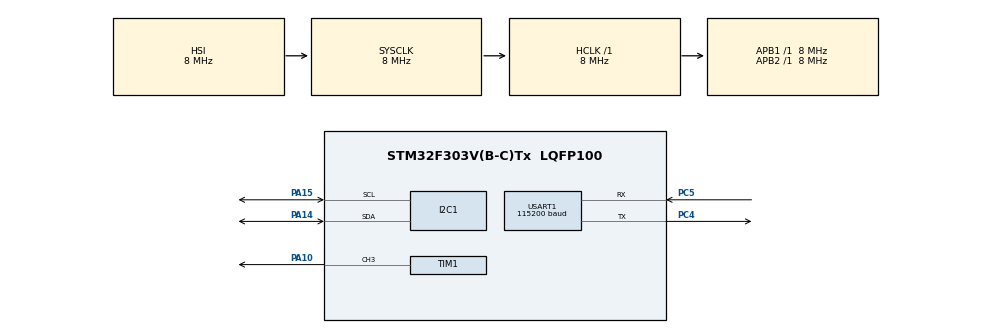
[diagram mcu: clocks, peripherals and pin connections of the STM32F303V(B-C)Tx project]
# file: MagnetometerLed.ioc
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I2C1.Timing=0x00201D2B
Mcu.Family=STM32F3
Mcu.Name=STM32F303V(B-C)Tx
Mcu.Package=LQFP100
NVIC.PriorityGroup=NVIC_PRIORITYGROUP_4
PA10.Signal=S_TIM1_CH3
PA14.GPIO_Pu=GPIO_NOPULL
PA14.Mode=I2C
PA14.Signal=I2C1_SDA
PA15.Mode=I2C
PA15.Signal=I2C1_SCL
PC4.Mode=Asynchronous
PC4.Signal=USART1_TX
PC5.Mode=Asynchronous
PC5.Signal=USART1_RX
ProjectManager.HeapSize=0x200
ProjectManager.StackSize=0x400
ProjectManager.TargetToolchain=STM32CubeIDE
RCC.AHBFreq_Value=8000000
RCC.APB1Freq_Value=8000000
RCC.APB1TimCLKDivider=1
RCC.APB1TimFreq_Value=8000000
RCC.APB2Freq_Value=8000000
RCC.APB2TimFreq_Value=8000000
RCC.CortexFreq_Value=8000000
RCC.HCLKFreq_Value=8000000
RCC.HSE_VALUE=8000000
RCC.HSI_VALUE=8000000
RCC.LSE_VALUE=32768
RCC.SYSCLKFreq_VALUE=8000000
RCC.USBFreq_Value=8000000
SH.S_TIM1_CH3.0=TIM1_CH3,PWM Generation3 CH3
TIM1.Channel-PWM\ Generation3\ CH3=TIM_CHANNEL_3
USART1.BaudRate=115200
USART1.VirtualMode-Asynchronous=VM_ASYNC
board=custom

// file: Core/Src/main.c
/* USER CODE BEGIN Header */
/**
  ******************************************************************************
  * @file           : main.c
  * @brief          : Main program body
  ******************************************************************************
  * @attention
  *
  * Copyright (c) 2025 STMicroelectronics.
  * All rights reserved.
  *
  * This software is licensed under terms that can be found in the LICENSE file
  * in the root directory of this software component.
  * If no LICENSE file comes with this software, it is provided AS-IS.
  *
  ******************************************************************************
  */
/* USER CODE END Header */
#include "main.h"
#include <stdio.h>
#include <string.h>
#include <math.h>

/* USER CODE BEGIN PD */
#define QMC5883L_ADDR       0x0D << 1  // 7-bit address 0x0D, shifted for HAL
#define QMC5883L_REG_X_LSB  0x00       // Data output X LSB
#define QMC5883L_REG_STATUS 0x06       // Status register
#define QMC5883L_REG_CTRL1  0x09       // Control register 1
#define UART_TX_PERIOD_MS   1000       // Print every 1 second
#define MAG_MIN_THRESHOLD   3000       // Minimum magnetic field magnitude
#define MAG_MAX_THRESHOLD   10000      // Maximum magnetic field magnitude
/* USER CODE END PD */

I2C_HandleTypeDef hi2c1;
TIM_HandleTypeDef htim1;
UART_HandleTypeDef huart1;

/* USER CODE BEGIN PV */
uint32_t uartTimer = 0; // Timer for periodic UART transmission
uint32_t magTimer = 0;  // Timer for magnetometer reading
/* USER CODE END PV */

void SystemClock_Config(void);
static void MX_GPIO_Init(void);
static void MX_I2C1_Init(void);
static void MX_USART1_UART_Init(void);
static void MX_TIM1_Init(void);
/* USER CODE BEGIN PFP */
HAL_StatusTypeDef QMC5883L_Init(void);
HAL_StatusTypeDef QMC5883L_ReadXYZ(int16_t *x, int16_t *y, int16_t *z);
/* USER CODE END PFP */

/* USER CODE BEGIN 0 */

/**
  * @brief Initialize QMC5883L magnetometer
  * @retval HAL status
  */
HAL_StatusTypeDef QMC5883L_Init(void) {
    uint8_t data;
    HAL_StatusTypeDef ret;

    // Reset the device
    data = 0x80; // Soft reset
    ret = HAL_I2C_Mem_Write(&hi2c1, QMC5883L_ADDR, 0x0A, 1, &data, 1, HAL_MAX_DELAY);
    if (ret != HAL_OK) return ret;
    HAL_Delay(10);

    // Configure: Continuous mode, 200 Hz, 8G range, 512 oversampling
    data = 0x1D; // 0b00011101: MODE=01 (continuous), ODR=11 (200 Hz), RNG=10 (8G), OSR=11 (512)
    ret = HAL_I2C_Mem_Write(&hi2c1, QMC5883L_ADDR, QMC5883L_REG_CTRL1, 1, &data, 1, HAL_MAX_DELAY);
    if (ret != HAL_OK) return ret;

    return HAL_OK;
}

/**
  * @brief Read X, Y, Z values from QMC5883L
  * @param x, y, z: Pointers to store magnetometer data
  * @retval HAL status
  */
HAL_StatusTypeDef QMC5883L_ReadXYZ(int16_t *x, int16_t *y, int16_t *z) {
    uint8_t data[6];
    uint8_t status;
    HAL_StatusTypeDef ret;

    // Check if data is ready (DRDY bit)
    do {
        ret = HAL_I2C_Mem_Read(&hi2c1, QMC5883L_ADDR, QMC5883L_REG_STATUS, 1, &status, 1, HAL_MAX_DELAY);
        if (ret != HAL_OK) return ret;
    } while (!(status & 0x01)); // Wait for DRDY = 1

    // Read 6 bytes (X_LSB, X_MSB, Y_LSB, Y_MSB, Z_LSB, Z_MSB)
    ret = HAL_I2C_Mem_Read(&hi2c1, QMC5883L_ADDR, QMC5883L_REG_X_LSB, 1, data, 6, HAL_MAX_DELAY);
    if (ret != HAL_OK) return ret;

    // Combine bytes (2’s complement)
    *x = (int16_t)(data[1] << 8 | data[0]);
    *y = (int16_t)(data[3] << 8 | data[2]);
    *z = (int16_t)(data[5] << 8 | data[4]);

    return HAL_OK;
}

/* USER CODE END 0 */

int main(void)
{
  /* USER CODE BEGIN 1 */
  int16_t x, y, z;
  float magnitude;
  uint32_t dutyCycle = 0;
  const uint32_t maxDuty = 7999; // Matches TIM1 Period
  char buffer[100];
  HAL_StatusTypeDef ret;
  /* USER CODE END 1 */

  /* MCU Configuration--------------------------------------------------------*/

  /* Reset of all peripherals, Initializes the Flash interface and the Systick. */
  HAL_Init();

  /* Configure the system clock */
  SystemClock_Config();

  /* Initialize all configured peripherals */
  MX_GPIO_Init();
  MX_I2C1_Init();
  MX_USART1_UART_Init();
  MX_TIM1_Init();
  /* USER CODE BEGIN 2 */

  // Initialize QMC5883L
  ret = QMC5883L_Init();
  if (ret != HAL_OK) {
      sprintf(buffer, "QMC5883L Init Failed: %d\r\n", ret);
      HAL_UART_Transmit(&huart1, (uint8_t*)buffer, strlen(buffer), HAL_MAX_DELAY);
      while (1);
  }

  // Start PWM on TIM1 Channel 3
  HAL_TIM_PWM_Start(&htim1, TIM_CHANNEL_3);

  // Send startup message
  sprintf(buffer, "QMC5883L Initialized, PWM Started\r\n");
  HAL_UART_Transmit(&huart1, (uint8_t*)buffer, strlen(buffer), HAL_MAX_DELAY);

  /* USER CODE END 2 */

  /* Infinite loop */
  while (1)
  {

    /* USER CODE BEGIN 3 */
    // Increment timers
    uartTimer += 10;
    magTimer += 10;

    // Read magnetometer every 200 ms
    if (magTimer >= 200) {
        ret = QMC5883L_ReadXYZ(&x, &y, &z);
        if (ret == HAL_OK) {
            // Calculate magnetic field magnitude
            magnitude = sqrt((float)(x * x + y * y + z * z));

            // Map magnitude to duty cycle (inverse relationship)
            if (magnitude <= MAG_MIN_THRESHOLD) {
                dutyCycle = maxDuty; // Max brightness
            } else if (magnitude >= MAG_MAX_THRESHOLD) {
                dutyCycle = 0; // Min brightness
            } else {
                // Linear interpolation: dutyCycle = maxDuty * (10000 - mag) / (10000 - 3000)
                dutyCycle = maxDuty * (MAG_MAX_THRESHOLD - magnitude) / (MAG_MAX_THRESHOLD - MAG_MIN_THRESHOLD);
            }

            // Set PWM duty cycle
            __HAL_TIM_SET_COMPARE(&htim1, TIM_CHANNEL_3, dutyCycle);
        } else {
            // Report error but continue
            sprintf(buffer, "Magnetometer Read Error: %d\r\n", ret);
            HAL_UART_Transmit(&huart1, (uint8_t*)buffer, strlen(buffer), HAL_MAX_DELAY);
        }
        magTimer = 0; // Reset timer
    }

    // Send UART message every 1 second
    if (uartTimer >= UART_TX_PERIOD_MS) {
        sprintf(buffer, "DEBUG: Mag: %.2f, Duty: %lu%%\r\n", magnitude, (dutyCycle * 100) / maxDuty);
        HAL_UART_Transmit(&huart1, (uint8_t*)buffer, strlen(buffer), HAL_MAX_DELAY);
        uartTimer = 0; // Reset timer
    }

    // Small delay for loop stability
    HAL_Delay(10);
  }
  /* USER CODE END 3 */
}

void SystemClock_Config(void)
{
  RCC_OscInitTypeDef RCC_OscInitStruct = {0};
  RCC_ClkInitTypeDef RCC_ClkInitStruct = {0};
  RCC_PeriphCLKInitTypeDef PeriphClkInit = {0};

  /** Initializes the RCC Oscillators according to the specified parameters
  * in the RCC_OscInitTypeDef structure.
  */
  RCC_OscInitStruct.OscillatorType = RCC_OSCILLATORTYPE_HSI;
  RCC_OscInitStruct.HSIState = RCC_HSI_ON;
  RCC_OscInitStruct.HSICalibrationValue = RCC_HSICALIBRATION_DEFAULT;
  RCC_OscInitStruct.PLL.PLLState = RCC_PLL_NONE;
  if (HAL_RCC_OscConfig(&RCC_OscInitStruct) != HAL_OK)
  {
    Error_Handler();
  }

  /** Initializes the CPU, AHB and APB buses clocks
  */
  RCC_ClkInitStruct.ClockType = RCC_CLOCKTYPE_HCLK|RCC_CLOCKTYPE_SYSCLK
                              |RCC_CLOCKTYPE_PCLK1|RCC_CLOCKTYPE_PCLK2;
  RCC_ClkInitStruct.SYSCLKSource = RCC_SYSCLKSOURCE_HSI;
  RCC_ClkInitStruct.AHBCLKDivider = RCC_SYSCLK_DIV1;
  RCC_ClkInitStruct.APB1CLKDivider = RCC_HCLK_DIV1;
  RCC_ClkInitStruct.APB2CLKDivider = RCC_HCLK_DIV1;

  if (HAL_RCC_ClockConfig(&RCC_ClkInitStruct, FLASH_LATENCY_0) != HAL_OK)
  {
    Error_Handler();
  }
  PeriphClkInit.PeriphClockSelection = RCC_PERIPHCLK_USART1|RCC_PERIPHCLK_I2C1
                              |RCC_PERIPHCLK_TIM1;
  PeriphClkInit.Usart1ClockSelection = RCC_USART1CLKSOURCE_PCLK2;
  PeriphClkInit.I2c1ClockSelection = RCC_I2C1CLKSOURCE_HSI;
  PeriphClkInit.Tim1ClockSelection = RCC_TIM1CLK_HCLK;
  if (HAL_RCCEx_PeriphCLKConfig(&PeriphClkInit) != HAL_OK)
  {
    Error_Handler();
  }
}

static void MX_I2C1_Init(void)
{

  hi2c1.Instance = I2C1;
  hi2c1.Init.Timing = 0x00201D2B; // 100 kHz for 8 MHz HSI
  hi2c1.Init.OwnAddress1 = 0;
  hi2c1.Init.AddressingMode = I2C_ADDRESSINGMODE_7BIT;
  hi2c1.Init.DualAddressMode = I2C_DUALADDRESS_DISABLE;
  hi2c1.Init.OwnAddress2 = 0;
  hi2c1.Init.OwnAddress2Masks = I2C_OA2_NOMASK;
  hi2c1.Init.GeneralCallMode = I2C_GENERALCALL_DISABLE;
  hi2c1.Init.NoStretchMode = I2C_NOSTRETCH_DISABLE;
  if (HAL_I2C_Init(&hi2c1) != HAL_OK)
  {
    Error_Handler();
  }

  /** Configure Analogue filter
  */
  if (HAL_I2CEx_ConfigAnalogFilter(&hi2c1, I2C_ANALOGFILTER_ENABLE) != HAL_OK)
  {
    Error_Handler();
  }

  /** Configure Digital filter
  */
  if (HAL_I2CEx_ConfigDigitalFilter(&hi2c1, 0) != HAL_OK)
  {
    Error_Handler();
  }
}

static void MX_TIM1_Init(void)
{

  TIM_MasterConfigTypeDef sMasterConfig = {0};
  TIM_OC_InitTypeDef sConfigOC = {0};
  TIM_BreakDeadTimeConfigTypeDef sBreakDeadTimeConfig = {0};

  htim1.Instance = TIM1;
  htim1.Init.Prescaler = 0; // 8 MHz timer clock
  htim1.Init.CounterMode = TIM_COUNTERMODE_UP;
  htim1.Init.Period = 7999; // PWM frequency = 8 MHz / (7999 + 1) = 1 kHz
  htim1.Init.ClockDivision = TIM_CLOCKDIVISION_DIV1;
  htim1.Init.RepetitionCounter = 0;
  htim1.Init.AutoReloadPreload = TIM_AUTORELOAD_PRELOAD_ENABLE; // Enable preload
  if (HAL_TIM_PWM_Init(&htim1) != HAL_OK)
  {
    Error_Handler();
  }
  sMasterConfig.MasterOutputTrigger = TIM_TRGO_RESET;
  sMasterConfig.MasterOutputTrigger2 = TIM_TRGO2_RESET;
  sMasterConfig.MasterSlaveMode = TIM_MASTERSLAVEMODE_DISABLE;
  if (HAL_TIMEx_MasterConfigSynchronization(&htim1, &sMasterConfig) != HAL_OK)
  {
    Error_Handler();
  }
  sConfigOC.OCMode = TIM_OCMODE_PWM1;
  sConfigOC.Pulse = 0; // Initial duty cycle (0%)
  sConfigOC.OCPolarity = TIM_OCPOLARITY_HIGH;
  sConfigOC.OCNPolarity = TIM_OCNPOLARITY_HIGH;
  sConfigOC.OCFastMode = TIM_OCFAST_DISABLE;
  sConfigOC.OCIdleState = TIM_OCIDLESTATE_RESET;
  sConfigOC.OCNIdleState = TIM_OCNIDLESTATE_RESET;
  if (HAL_TIM_PWM_ConfigChannel(&htim1, &sConfigOC, TIM_CHANNEL_3) != HAL_OK)
  {
    Error_Handler();
  }
  sBreakDeadTimeConfig.OffStateRunMode = TIM_OSSR_DISABLE;
  sBreakDeadTimeConfig.OffStateIDLEMode = TIM_OSSI_DISABLE;
  sBreakDeadTimeConfig.LockLevel = TIM_LOCKLEVEL_OFF;
  sBreakDeadTimeConfig.DeadTime = 0;
  sBreakDeadTimeConfig.BreakState = TIM_BREAK_DISABLE;
  sBreakDeadTimeConfig.BreakPolarity = TIM_BREAKPOLARITY_HIGH;
  sBreakDeadTimeConfig.BreakFilter = 0;
  sBreakDeadTimeConfig.Break2State = TIM_BREAK2_DISABLE;
  sBreakDeadTimeConfig.Break2Polarity = TIM_BREAK2POLARITY_HIGH;
  sBreakDeadTimeConfig.Break2Filter = 0;
  sBreakDeadTimeConfig.AutomaticOutput = TIM_AUTOMATICOUTPUT_DISABLE;
  if (HAL_TIMEx_ConfigBreakDeadTime(&htim1, &sBreakDeadTimeConfig) != HAL_OK)
  {
    Error_Handler();
  }
  HAL_TIM_MspPostInit(&htim1);
}

static void MX_USART1_UART_Init(void)
{

  huart1.Instance = USART1;
  huart1.Init.BaudRate = 115200;
  huart1.Init.WordLength = UART_WORDLENGTH_8B;
  huart1.Init.StopBits = UART_STOPBITS_1;
  huart1.Init.Parity = UART_PARITY_NONE;
  huart1.Init.Mode = UART_MODE_TX_RX;
  huart1.Init.HwFlowCtl = UART_HWCONTROL_NONE;
  huart1.Init.OverSampling = UART_OVERSAMPLING_16;
  huart1.Init.OneBitSampling = UART_ONE_BIT_SAMPLE_DISABLE;
  huart1.AdvancedInit.AdvFeatureInit = UART_ADVFEATURE_NO_INIT;
  if (HAL_UART_Init(&huart1) != HAL_OK)
  {
    Error_Handler();
  }
}

static void MX_GPIO_Init(void)
{
  GPIO_InitTypeDef GPIO_InitStruct = {0};

  /* GPIO Ports Clock Enable */
  __HAL_RCC_GPIOC_CLK_ENABLE();
  __HAL_RCC_GPIOA_CLK_ENABLE();

  /* Configure PA10 for TIM1_CH3 (PWM) */
  GPIO_InitStruct.Pin = GPIO_PIN_10;
  GPIO_InitStruct.Mode = GPIO_MODE_AF_PP;
  GPIO_InitStruct.Pull = GPIO_NOPULL;
  GPIO_InitStruct.Speed = GPIO_SPEED_FREQ_LOW;
  GPIO_InitStruct.Alternate = GPIO_AF6_TIM1; // TIM1_CH3 for PA10 (per datasheet)
  HAL_GPIO_Init(GPIOA, &GPIO_InitStruct);

  /* Configure PA15 (SCL) and PA14 (SDA) for I2C1 */
  GPIO_InitStruct.Pin = GPIO_PIN_14 | GPIO_PIN_15;
  GPIO_InitStruct.Mode = GPIO_MODE_AF_OD; // Open-drain for I2C
  GPIO_InitStruct.Pull = GPIO_PULLUP;     // External pull-ups recommended
  GPIO_InitStruct.Speed = GPIO_SPEED_FREQ_HIGH;
  GPIO_InitStruct.Alternate = GPIO_AF4_I2C1; // I2C1 SCL/SDA for PA15/PA14
  HAL_GPIO_Init(GPIOA, &GPIO_InitStruct);

  /* Configure PC4 (TX) and PC5 (RX) for USART1 */
  GPIO_InitStruct.Pin = GPIO_PIN_4 | GPIO_PIN_5;
  GPIO_InitStruct.Mode = GPIO_MODE_AF_PP;
  GPIO_InitStruct.Pull = GPIO_NOPULL;
  GPIO_InitStruct.Speed = GPIO_SPEED_FREQ_HIGH;
  GPIO_InitStruct.Alternate = GPIO_AF7_USART1; // USART1 TX/RX for PC4/PC5
  HAL_GPIO_Init(GPIOC, &GPIO_InitStruct);

}

void Error_Handler(void)
{
  __disable_irq();
  while (1)
  {
  }
}
